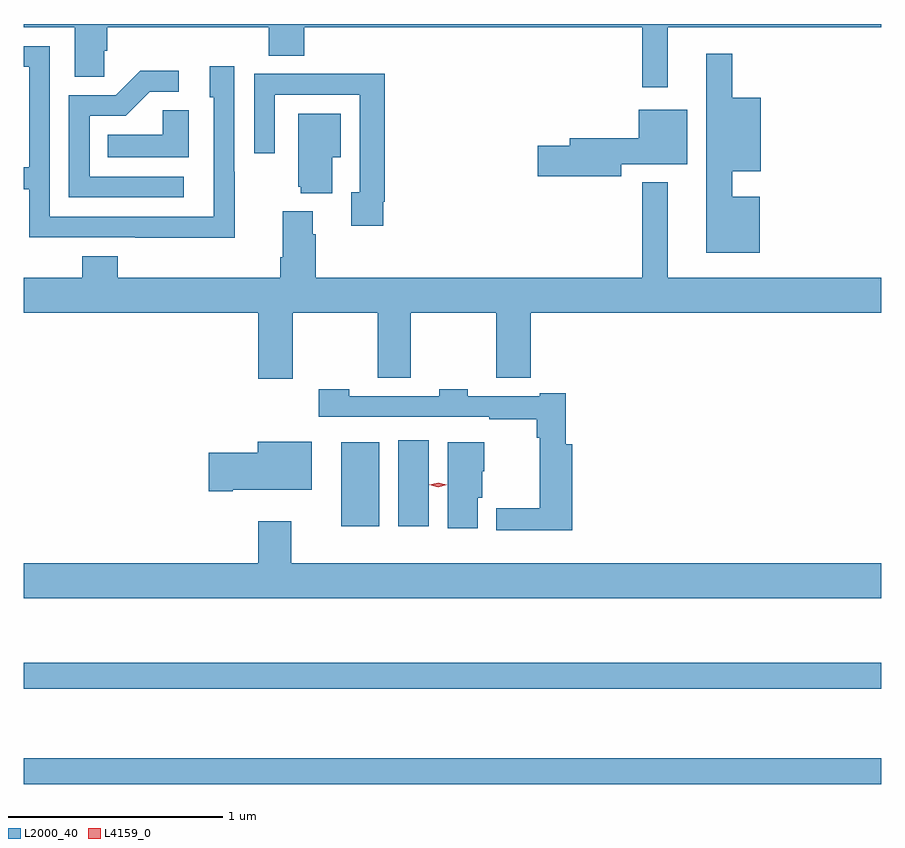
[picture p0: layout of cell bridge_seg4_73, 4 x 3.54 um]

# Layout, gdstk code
import gdstk
lib = gdstk.Library(unit=1e-6, precision=1e-09)
def R(c, l, rs):  # rectangles x0, y0, x1, y1
    for r in rs: c.add(gdstk.rectangle(r[:2], r[2:], *l))
def P(c, l, *ps):  # polygons
    for p in ps: c.add(gdstk.Polygon(p, *l))
L2000_40 = (2000, 40)
L4159_0 = (4159, 0)

bridge_seg4_73 = lib.new_cell('bridge_seg4_73')
R(bridge_seg4_73, L2000_40, [(579.854,829.254,583.854,829.375), (579.854,829.698,583.854,829.819), (581.336,830.456,581.512,830.848), (581.6,830.456,581.743,830.857)])
P(bridge_seg4_73, L2000_40, [(579.854,832.784),(580.091,832.784),(580.091,832.552),(580.23,832.552),(580.23,832.675),(580.244,832.675),(580.244,832.784),(580.997,832.784),(580.997,832.651),(581.162,832.651),(581.162,832.784),(582.738,832.784),(582.738,832.503),(582.859,832.503),(582.859,832.784),(583.854,832.784),(583.854,832.799),(579.854,832.799)],
  [(580.839,832.109),(580.836,832.109),(580.836,832.603),(580.721,832.603),(580.721,832.458),(580.74,832.458),(580.74,831.9),(579.975,831.9),(579.975,832.695),(579.854,832.695),(579.854,832.599),(579.879,832.599),(579.879,832.13),(579.854,832.13),(579.854,832.029),(579.879,832.029),(579.879,831.804),(580.375,831.804),(580.375,831.803),(580.839,831.803)],
  [(583.288,831.994),(583.159,831.994),(583.159,832.112),(583.291,832.112),(583.291,832.456),(583.159,832.456),(583.159,832.66),(583.037,832.66),(583.037,831.731),(583.288,831.731)],
  [(580.6,832.086),(580.161,832.086),(580.161,832.371),(580.33,832.371),(580.441,832.482),(580.576,832.482),(580.576,832.58),(580.397,832.58),(580.284,832.467),(580.065,832.467),(580.065,831.99),(580.6,831.99)],
  [(581.53,831.97),(581.537,831.97),(581.537,832.568),(581.245,832.568),(581.245,832.566),(580.929,832.566),(580.929,832.197),(581.025,832.197),(581.025,832.47),(581.421,832.47),(581.421,832.014),(581.381,832.014),(581.381,831.858),(581.53,831.858)],
  [(582.64,832.145),(582.949,832.145),(582.949,832.399),(582.722,832.399),(582.722,832.267),(582.401,832.267),(582.401,832.232),(582.252,832.232),(582.252,832.09),(582.64,832.09)],
  [(580.624,832.397),(580.503,832.397),(580.503,832.282),(580.246,832.282),(580.246,832.178),(580.624,832.178)],
  [(581.293,832.178),(581.332,832.178),(581.332,832.381),(581.135,832.381),(581.135,832.041),(581.147,832.041),(581.147,832.01),(581.293,832.01)],
  [(583.854,831.616),(582.859,831.616),(582.859,832.06),(582.738,832.06),(582.738,831.616),(581.216,831.616),(581.216,831.818),(581.203,831.818),(581.203,831.925),(581.063,831.925),(581.063,831.712),(581.051,831.712),(581.051,831.616),(580.292,831.616),(580.292,831.715),(580.127,831.715),(580.127,831.616),(579.854,831.616),(579.854,831.452),(580.949,831.452),(580.949,831.144),(581.109,831.144),(581.109,831.452),(581.506,831.452),(581.506,831.148),(581.66,831.148),(581.66,831.452),(582.058,831.452),(582.058,831.148),(582.218,831.148),(582.218,831.452),(583.854,831.452)],
  [(582.413,830.839),(582.383,830.839),(582.383,831.076),(582.26,831.076),(582.26,831.063),(581.925,831.063),(581.925,831.096),(581.793,831.096),(581.793,831.063),(581.373,831.063),(581.373,831.096),(581.229,831.096),(581.229,830.967),(582.025,830.967),(582.025,830.955),(582.247,830.955),(582.247,830.87),(582.262,830.87),(582.262,830.54),(582.057,830.54),(582.057,830.438),(582.413,830.438)],
  [(580.828,830.627),(581.197,830.627),(581.197,830.851),(580.946,830.851),(580.946,830.798),(580.716,830.798),(580.716,830.62),(580.828,830.62)],
  [(581.971,830.589),(581.992,830.589),(581.992,830.712),(582.001,830.712),(582.001,830.848),(581.831,830.848),(581.831,830.448),(581.971,830.448)],
  [(583.854,830.284),(581.101,830.284),(581.101,830.479),(580.949,830.479),(580.949,830.284),(579.854,830.284),(579.854,830.12),(583.854,830.12)])
P(bridge_seg4_73, L4159_0, [(581.787,830.639),(581.746,830.649),(581.746,830.649),(581.746,830.65),(581.787,830.659),(581.827,830.649),(581.827,830.649),(581.827,830.649)])

lib.write_gds('bridge_seg4_73.gds')
